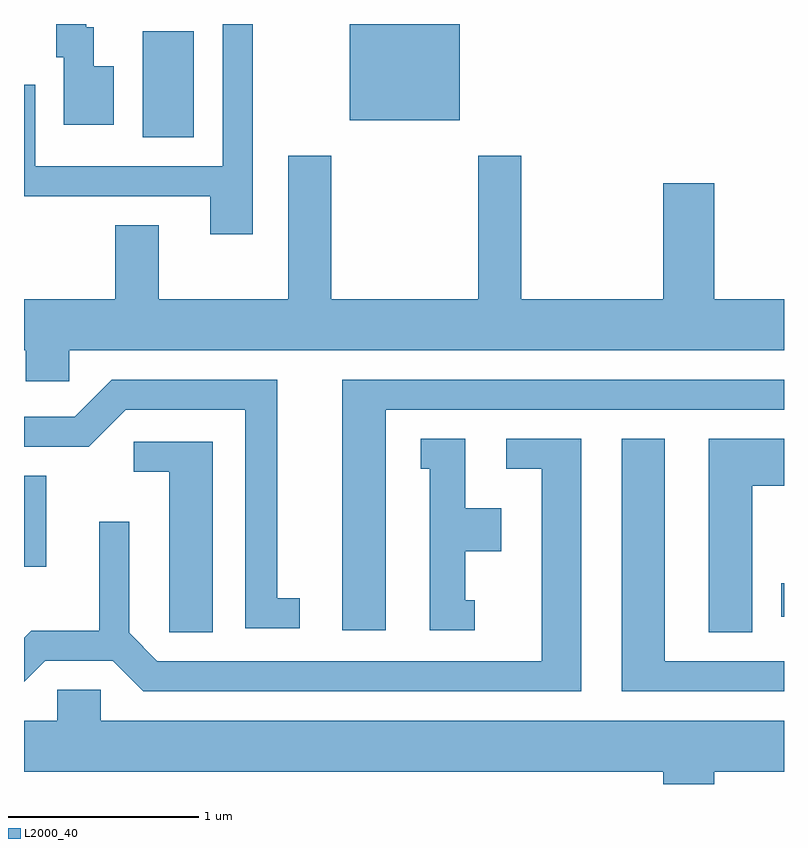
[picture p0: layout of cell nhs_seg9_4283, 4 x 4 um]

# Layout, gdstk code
import gdstk
lib = gdstk.Library(unit=1e-6, precision=1e-09)
def R(c, l, rs):  # rectangles x0, y0, x1, y1
    for r in rs: c.add(gdstk.rectangle(r[:2], r[2:], *l))
def P(c, l, *ps):  # polygons
    for p in ps: c.add(gdstk.Polygon(p, *l))
L2000_40 = (2000, 40)

nhs_seg9_4283 = lib.new_cell('nhs_seg9_4283')
R(nhs_seg9_4283, L2000_40, [(315.596,1979.311,315.611,1979.489), (311.611,1979.576,311.729,1980.054), (312.236,1981.836,312.504,1982.394), (313.326,1981.926,313.904,1982.432)])
P(nhs_seg9_4283, L2000_40, [(312.084,1982.209),(311.979,1982.209),(311.979,1982.414),(311.939,1982.414),(311.939,1982.432),(311.781,1982.432),(311.781,1982.256),(311.821,1982.256),(311.821,1981.901),(312.084,1981.901)],
  [(312.814,1982.432),(312.656,1982.432),(312.656,1981.684),(311.669,1981.684),(311.669,1982.113),(311.611,1982.113),(311.611,1981.526),(312.591,1981.526),(312.591,1981.326),(312.814,1981.326)],
  [(311.849,1980.716),(315.611,1980.716),(315.611,1980.984),(315.244,1980.984),(315.244,1981.594),(314.976,1981.594),(314.976,1980.984),(314.229,1980.984),(314.229,1981.739),(314.001,1981.739),(314.001,1980.984),(313.229,1980.984),(313.229,1981.739),(313.001,1981.739),(313.001,1980.984),(312.319,1980.984),(312.319,1981.374),(312.091,1981.374),(312.091,1980.984),(311.611,1980.984),(311.611,1980.716),(311.621,1980.716),(311.621,1980.551),(311.849,1980.551)],
  [(313.063,1979.409),(312.944,1979.409),(312.944,1980.559),(312.074,1980.559),(311.879,1980.364),(311.611,1980.364),(311.611,1980.206),(311.952,1980.206),(312.147,1980.401),(312.776,1980.401),(312.776,1979.251),(313.063,1979.251)],
  [(313.514,1980.401),(315.611,1980.401),(315.611,1980.559),(313.286,1980.559),(313.286,1979.241),(313.514,1979.241)],
  [(315.444,1980.001),(315.611,1980.001),(315.611,1980.249),(315.216,1980.249),(315.216,1979.231),(315.444,1979.231)],
  [(314.544,1980.249),(314.148,1980.249),(314.148,1980.091),(314.336,1980.091),(314.336,1979.079),(312.312,1979.079),(312.164,1979.227),(312.164,1979.813),(312.006,1979.813),(312.006,1979.239),(311.649,1979.239),(311.611,1979.201),(311.611,1978.97),(311.722,1979.081),(312.079,1979.081),(312.239,1978.921),(314.544,1978.921)],
  [(313.983,1979.399),(313.934,1979.399),(313.934,1979.656),(314.124,1979.656),(314.124,1979.884),(313.934,1979.884),(313.934,1980.249),(313.698,1980.249),(313.698,1980.091),(313.746,1980.091),(313.746,1979.241),(313.983,1979.241)],
  [(315.611,1979.079),(314.984,1979.079),(314.984,1980.249),(314.756,1980.249),(314.756,1978.921),(315.611,1978.921)],
  [(312.604,1980.234),(312.188,1980.234),(312.188,1980.076),(312.376,1980.076),(312.376,1979.231),(312.604,1979.231)],
  [(315.244,1978.496),(315.611,1978.496),(315.611,1978.764),(312.014,1978.764),(312.014,1978.929),(311.786,1978.929),(311.786,1978.764),(311.611,1978.764),(311.611,1978.496),(314.976,1978.496),(314.976,1978.432),(315.244,1978.432)])

lib.write_gds('nhs_seg9_4283.gds')
